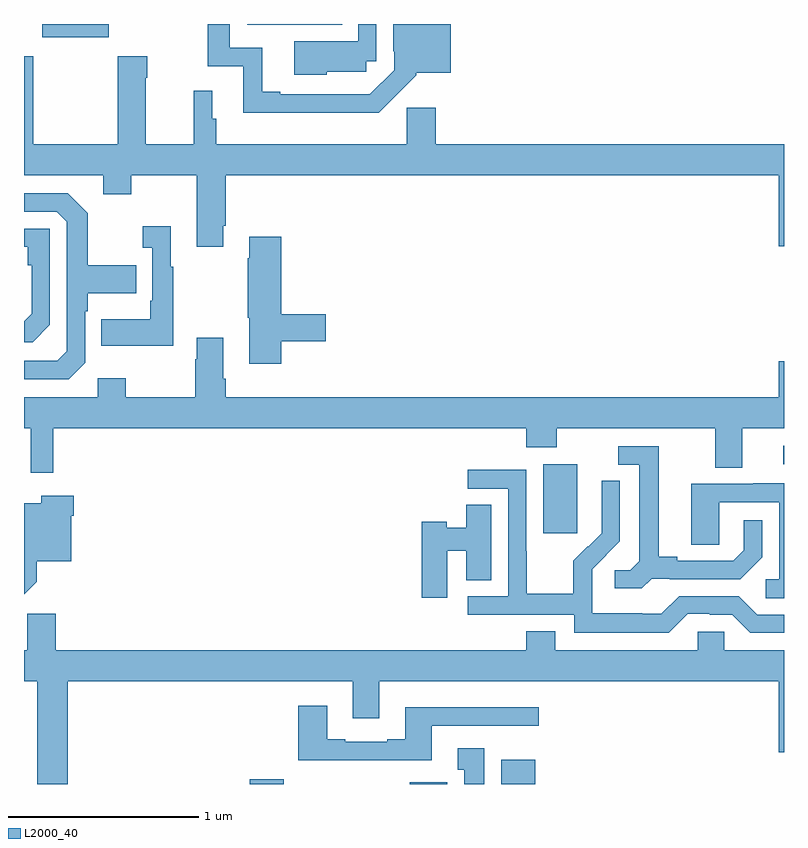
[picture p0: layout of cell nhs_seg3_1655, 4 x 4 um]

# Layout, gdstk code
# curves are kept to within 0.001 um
import gdstk
lib = gdstk.Library(unit=1e-6, precision=1e-09)
def R(c, l, rs):  # rectangles x0, y0, x1, y1
    for r in rs: c.add(gdstk.rectangle(r[:2], r[2:], *l))
def P(c, l, *ps):  # polygons
    for p in ps: c.add(gdstk.Polygon(p, *l))
L2000_40 = (2000, 40)

nhs_seg3_1655 = lib.new_cell('nhs_seg3_1655')
R(nhs_seg3_1655, L2000_40, [(198.188,676.4,198.366,676.426), (199.031,676.4,199.228,676.408), (199.511,676.4,199.69,676.528), (199.733,677.721,199.912,678.082), (200.997,678.084,201,678.18), (197.096,680.33,197.446,680.4), (198.174,680.396,198.674,680.4)])
P(nhs_seg3_1655, L2000_40, [(199.064,680.129),(199.064,680.144),(199.246,680.144),(199.246,680.4),(198.944,680.4),(198.944,680.257),(198.948,680.257),(198.948,680.157),(198.82,680.029),(198.719,680.029),(198.719,680.031),(198.349,680.031),(198.349,680.044),(198.253,680.044),(198.253,680.274),(198.084,680.274),(198.084,680.4),(197.968,680.4),(197.968,680.178),(198.155,680.178),(198.155,679.934),(198.667,679.934),(198.667,679.932),(198.866,679.932)],
  [(198.594,680.15),(198.801,680.15),(198.801,680.205),(198.855,680.205),(198.855,680.4),(198.759,680.4),(198.759,680.308),(198.422,680.308),(198.422,680.132),(198.594,680.132)],
  [(198.011,679.901),(197.992,679.901),(197.992,680.05),(197.893,680.05),(197.893,679.768),(197.641,679.768),(197.641,680.117),(197.649,680.117),(197.649,680.23),(197.494,680.23),(197.494,679.768),(197.049,679.768),(197.049,680.23),(197,680.23),(197,679.604),(197.417,679.604),(197.417,679.505),(197.565,679.505),(197.565,679.604),(197.909,679.604),(197.909,679.227),(198.049,679.227),(198.049,679.339),(198.062,679.339),(198.062,679.604),(200.972,679.604),(200.972,679.23),(201,679.23),(201,679.768),(199.166,679.768),(199.166,679.959),(199.015,679.959),(199.015,679.768),(198.011,679.768)],
  [(197.322,678.618),(197.322,678.887),(197.335,678.887),(197.335,678.983),(197.591,678.983),(197.591,679.131),(197.335,679.131),(197.335,679.403),(197.229,679.509),(197,679.509),(197,679.413),(197.172,679.413),(197.226,679.359),(197.226,678.678),(197.175,678.627),(197,678.627),(197,678.531),(197.235,678.531)],
  [(197.785,679.123),(197.773,679.123),(197.773,679.336),(197.625,679.336),(197.625,679.223),(197.676,679.223),(197.676,678.943),(197.664,678.943),(197.664,678.847),(197.407,678.847),(197.407,678.707),(197.785,678.707)],
  [(197.136,678.816),(197.136,679.323),(197,679.323),(197,679.227),(197.02,679.227),(197.02,679.13),(197.04,679.13),(197.04,678.876),(197,678.836),(197,678.726),(197.046,678.726)],
  [(198.353,678.73),(198.589,678.73),(198.589,678.872),(198.353,678.872),(198.353,679.279),(198.185,679.279),(198.185,679.166),(198.178,679.166),(198.178,678.855),(198.185,678.855),(198.185,678.612),(198.353,678.612)],
  [(197.153,678.272),(199.643,678.272),(199.643,678.173),(199.803,678.173),(199.803,678.272),(200.639,678.272),(200.639,678.064),(200.779,678.064),(200.779,678.272),(201,678.272),(201,678.625),(200.972,678.625),(200.972,678.436),(198.062,678.436),(198.062,678.532),(198.049,678.532),(198.049,678.748),(197.909,678.748),(197.909,678.635),(197.902,678.635),(197.902,678.436),(197.535,678.436),(197.535,678.535),(197.388,678.535),(197.388,678.436),(197,678.436),(197,678.272),(197.036,678.272),(197.036,678.039),(197.153,678.039)],
  [(200.304,677.481),(200.398,677.481),(200.398,677.478),(200.77,677.478),(200.886,677.594),(200.886,677.788),(200.789,677.788),(200.789,677.631),(200.732,677.574),(200.437,677.574),(200.437,677.597),(200.341,677.597),(200.341,678.177),(200.127,678.177),(200.127,678.081),(200.237,678.081),(200.237,677.573),(200.19,677.526),(200.109,677.526),(200.109,677.429),(200.252,677.429)],
  [(200.493,677.295),(200.609,677.295),(200.609,677.292),(200.727,677.292),(200.823,677.196),(201,677.196),(201,677.292),(200.859,677.292),(200.763,677.388),(200.448,677.388),(200.355,677.295),(200.255,677.295),(200.255,677.299),(199.992,677.299),(199.992,677.433),(199.99,677.433),(199.99,677.53),(200.136,677.678),(200.136,677.996),(200.04,677.996),(200.04,677.842),(200.042,677.842),(200.042,677.72),(199.971,677.649),(199.968,677.652),(199.891,677.575),(199.891,677.401),(199.647,677.401),(199.647,677.624),(199.644,677.624),(199.644,678.054),(199.335,678.054),(199.335,677.955),(199.548,677.955),(199.548,677.388),(199.335,677.388),(199.335,677.292),(199.896,677.292),(199.896,677.195),(200.393,677.195)],
  [(201,677.983),(200.837,677.983),(200.837,677.979),(200.513,677.979),(200.513,677.659),(200.658,677.659),(200.658,677.883),(200.976,677.883),(200.976,677.478),(200.904,677.478),(200.904,677.377),(201,677.377)],
  [(197.066,677.465),(197.066,677.573),(197.248,677.573),(197.248,677.813),(197.261,677.813),(197.261,677.917),(197.09,677.917),(197.09,677.878),(197,677.878),(197,677.399)],
  [(199.228,677.627),(199.328,677.627),(199.328,677.473),(199.459,677.473),(199.459,677.87),(199.328,677.87),(199.328,677.749),(199.224,677.749),(199.224,677.78),(199.094,677.78),(199.094,677.379),(199.228,677.379)],
  [(197.231,676.94),(198.731,676.94),(198.731,676.746),(198.871,676.746),(198.871,676.94),(200.972,676.94),(200.972,676.566),(201,676.566),(201,677.104),(200.685,677.104),(200.685,677.202),(200.547,677.202),(200.547,677.104),(199.795,677.104),(199.795,677.203),(199.643,677.203),(199.643,677.104),(197.168,677.104),(197.168,677.295),(197.017,677.295),(197.017,677.104),(197,677.104),(197,676.94),(197.071,676.94),(197.071,676.4),(197.231,676.4)],
  [(199.147,676.707),(199.708,676.707),(199.708,676.804),(199.007,676.804),(199.007,676.636),(198.911,676.636),(198.911,676.623),(198.691,676.623),(198.691,676.636),(198.595,676.636),(198.595,676.813),(198.443,676.813),(198.443,676.526),(199.147,676.526)],
  [(199.423,676.588),(199.283,676.588),(199.283,676.475),(199.316,676.475),(199.316,676.4),(199.423,676.4)])

lib.write_gds('nhs_seg3_1655.gds')
